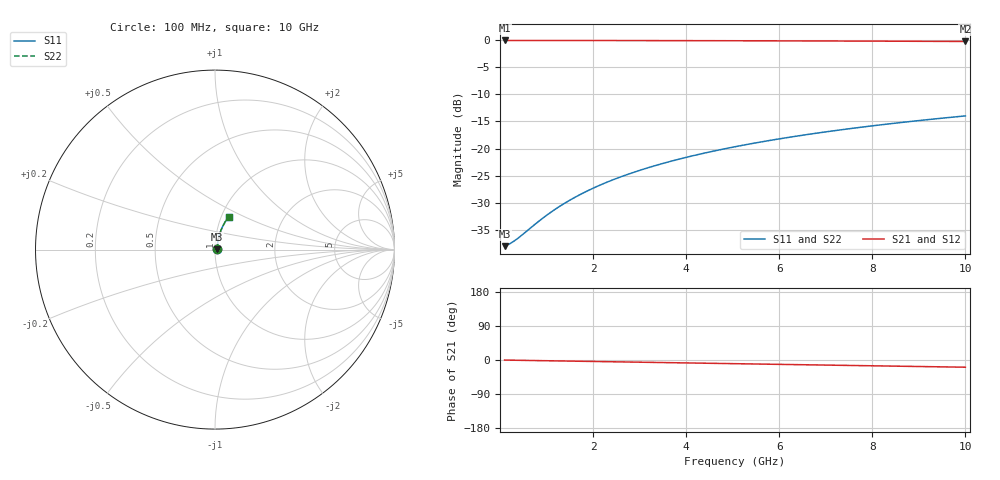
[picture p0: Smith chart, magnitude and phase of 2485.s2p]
# Hz S RI R 50.00
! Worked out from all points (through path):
!   100 points, 100 MHz to 10 GHz, reference 50 ohm
!   highest |S21| = -0.11 dB at 100 MHz (marker M1); lowest = -0.3 dB at 10 GHz (marker M2)
!   group delay of S21, straight-line fit = 5.29 ps
!   lowest |S11| = -38.0 dB at 100 MHz (marker M3), VSWR 1.03, Z = 51.3 + j0.207 ohm
!   |S11| at or under -10 dB: start of sweep to end of sweep
!   |S22| runs from -38.0 to -14.0 dB; largest |S21 - S12| = 0
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1e8  0.0125 0.00202  0.9875 -0.00333  0.9875 -0.00333  0.0125 0.00202
2e8  0.0126 0.00403  0.9874 -0.00665  0.9874 -0.00665  0.0126 0.00403
3e8  0.0126 0.00604  0.9873 -0.00997  0.9873 -0.00997  0.0126 0.00604
4e8  0.0127 0.00806  0.9872 -0.0133  0.9872 -0.0133  0.0127 0.00806
9e8  0.0134 0.0181  0.9866 -0.0299  0.9866 -0.0299  0.0134 0.0181
1.2e9  0.0139 0.0241  0.986 -0.0398  0.986 -0.0398  0.0139 0.0241
1.5e9  0.0145 0.0301  0.9853 -0.0498  0.9853 -0.0498  0.0145 0.0301
1.8e9  0.0152 0.0361  0.9845 -0.0597  0.9845 -0.0597  0.0152 0.0361
2.1e9  0.016 0.0421  0.9836 -0.0696  0.9836 -0.0696  0.016 0.0421
2.5e9  0.0173 0.05  0.9821 -0.0828  0.9821 -0.0828  0.0173 0.05
2.9e9  0.0188 0.0579  0.9804 -0.0959  0.9804 -0.0959  0.0188 0.0579
3.4e9  0.021 0.0677  0.978 -0.1122  0.978 -0.1122  0.021 0.0677
3.8e9  0.023 0.0754  0.9757 -0.1252  0.9757 -0.1252  0.023 0.0754
4.2e9  0.0251 0.0831  0.9733 -0.1382  0.9733 -0.1382  0.0251 0.0831
4.6e9  0.0275 0.0908  0.9706 -0.1511  0.9706 -0.1511  0.0275 0.0908
5.1e9  0.0307 0.1002  0.9669 -0.167  0.9669 -0.167  0.0307 0.1002
5.9e9  0.0366 0.115  0.9603 -0.1923  0.9603 -0.1923  0.0366 0.115
6.7e9  0.0431 0.1294  0.9529 -0.2173  0.9529 -0.2173  0.0431 0.1294
7.5e9  0.0504 0.1433  0.9446 -0.2418  0.9446 -0.2418  0.0504 0.1433
8.4e9  0.0595 0.1585  0.9343 -0.2688  0.9343 -0.2688  0.0595 0.1585
9.2e9  0.0682 0.1714  0.9244 -0.2923  0.9244 -0.2923  0.0682 0.1714
1e10  0.0775 0.1838  0.9137 -0.3152  0.9137 -0.3152  0.0775 0.1838
